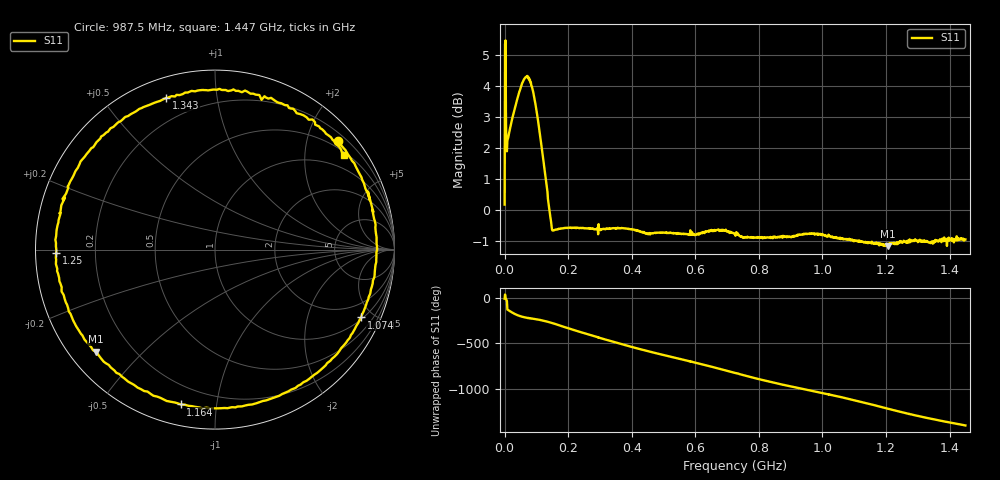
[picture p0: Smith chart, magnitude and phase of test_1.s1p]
! Created with skrf 1.11.0 (http://scikit-rf.org).
# Hz S RI R 50.0
!freq ReS11 ImS11
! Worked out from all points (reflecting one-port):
!   1001 points, 50 kHz to 1.45 GHz, reference 50 ohm
!   lowest |S11| = -1.2 dB at 1.205 GHz (marker M1), VSWR 14.76, Z = 3.85 - j18.4 ohm
!   phase of S11 starts at -4 deg and turns -1401 deg over the sweep
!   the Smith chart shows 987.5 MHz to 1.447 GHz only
!   S11 on the Smith chart (normalised r, x): 987.5 MHz: 0.35, +2.60; 1.074 GHz: 1.10, -4.25; 1.164 GHz: 0.10, -0.80; 1.25 GHz: 0.06, -0.01; 1.343 GHz: 0.09, +0.72; 1.447 GHz: 0.56, +2.96
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50000  1.016 -0.0768
1.599945e7  -1.048 -0.839
3.919865e7  -1.497 0.1306
6.239785e7  -1.401 0.8239
8.849695e7  -1.084 1.12
1.812938e8  0.6036 0.711
2.30592e8  0.9314 -0.0831
2.856902e8  0.414 -0.8327
3.219389e8  -0.1793 -0.9149
3.625375e8  -0.7328 -0.5774
4.118358e8  -0.9154 0.1462
4.669339e8  -0.4751 0.7837
5.437812e8  0.5097 0.7603
6.307782e8  0.8734 -0.2901
6.815265e8  0.3971 -0.8381
7.25025e8  -0.2359 -0.8825
8.091221e8  -0.903 0.0184
9.062688e8  -0.1809 0.8859
9.87466e8  0.685 0.6056
1.074463e9  0.8132 -0.3777
1.087512e9  0.7301 -0.5189
1.16436e9  -0.192 -0.8627
1.204958e9  -0.663 -0.5682
1.249907e9  -0.8847 -0.0197
1.268756e9  -0.8617 0.2076
1.342704e9  -0.2734 0.8445
1.4471e9  0.7214 0.5292
1.45e9  0.7358 0.5098
